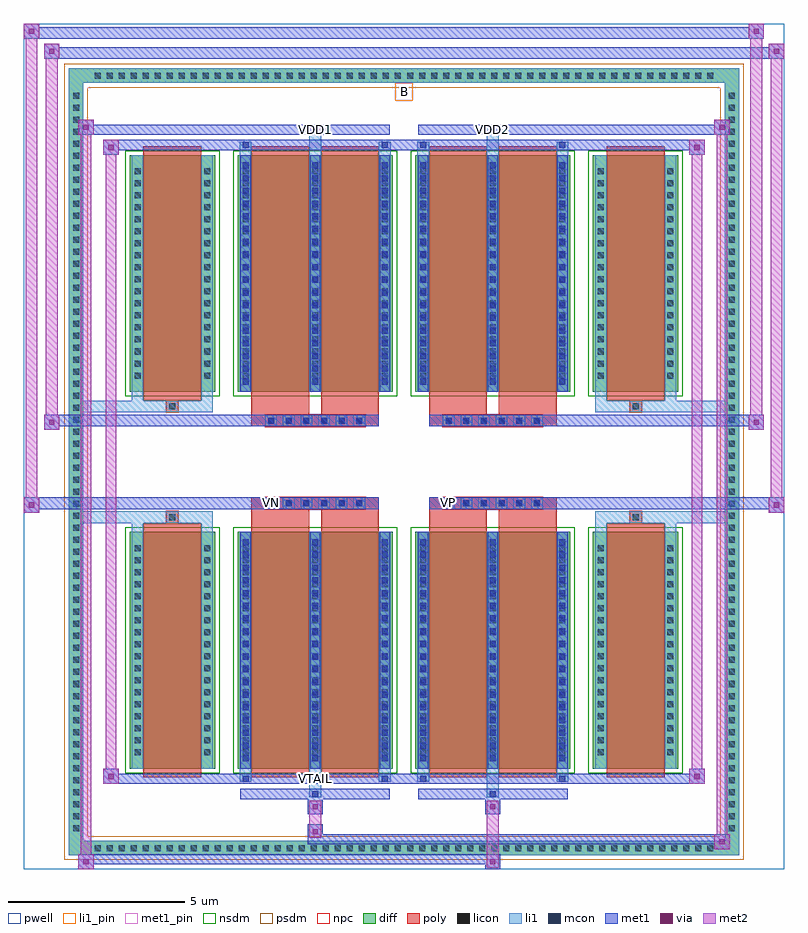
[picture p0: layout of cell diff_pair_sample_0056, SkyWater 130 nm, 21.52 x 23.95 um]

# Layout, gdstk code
import gdstk
lib = gdstk.Library(unit=1e-6, precision=5e-09)
def R(c, l, rs):  # rectangles x0, y0, x1, y1
    for r in rs: c.add(gdstk.rectangle(r[:2], r[2:], *l))
def A(c, l, x, y, w, h, nx, ny, dx, dy):  # array of equal rectangles
    R(c, l, [(x+i*dx, y+j*dy, x+i*dx+w, y+j*dy+h) for i in range(nx) for j in range(ny)])
def P(c, l, *ps):  # polygons
    for p in ps: c.add(gdstk.Polygon(p, *l))
pwell = (64, 44)
diff = (65, 20)
poly = (66, 20)
licon = (66, 44)
li1_pin = (67, 16)
li1 = (67, 20)
mcon = (67, 44)
met1_pin = (68, 16)
met1 = (68, 20)
via = (68, 44)
met2 = (69, 20)
nsdm = (93, 44)
psdm = (94, 20)
npc = (95, 20)

diff_pair_sample_0056 = lib.new_cell('diff_pair_sample_0056')
R(diff_pair_sample_0056, pwell, [(-10.76,-11.54,10.76,12.41), (-8.08,-9.73,-0.01,-0.805), (0.01,-9.73,8.08,-0.805), (-8.08,0.805,-0.01,9.73), (0.01,0.805,8.08,9.73)])
A(diff_pair_sample_0056, diff, -8.875, -11.14, 0.41, 0.41, 52, 2, 0.34, 21.87)
A(diff_pair_sample_0056, diff, -9.49, -10.575, 0.41, 0.41, 1, 62, 0, 0.34)
A(diff_pair_sample_0056, diff, 9.08, -10.575, 0.41, 0.41, 1, 62, 0, 0.34)
R(diff_pair_sample_0056, diff, [(-8.875,-11.14,8.875,-10.73), (-9.49,-10.575,-9.08,10.575), (9.08,-10.575,9.49,10.575), (-7.77,-8.685,-5.35,-1.985), (-4.71,-8.685,-0.32,-1.985), (0.32,-8.685,4.71,-1.985), (5.35,-8.685,7.77,-1.985), (-7.77,1.985,-5.35,8.685), (-4.71,1.985,-0.32,8.685), (0.32,1.985,4.71,8.685), (5.35,1.985,7.77,8.685), (-8.875,10.73,8.875,11.14)])
P(diff_pair_sample_0056, diff, [(9.49,11.14),(-9.49,11.14),(-9.49,-10.73),(-9.08,-10.73),(-9.08,10.73),(9.08,10.73),(9.08,-10.73),(-9.08,-10.73),(-9.49,-10.73),(-9.49,-11.14),(9.49,-11.14)])
A(diff_pair_sample_0056, poly, -3.93, -1.335, 0.33, 0.33, 6, 2, 0.5, 2.34)
A(diff_pair_sample_0056, poly, 1.1, -1.335, 0.33, 0.33, 6, 2, 0.5, 2.34)
R(diff_pair_sample_0056, poly, [(-7.38,-8.935,-5.74,-1.735), (-4.32,-8.935,-2.68,-1.735), (-2.35,-8.935,-0.71,-1.735), (0.71,-8.935,2.35,-1.735), (2.68,-8.935,4.32,-1.735), (5.74,-8.935,7.38,-1.735), (-6.725,-1.735,-6.395,-1.405), (-6.725,-1.735,-6.395,-1.405), (-4.32,-1.735,-2.68,-1.335), (-2.35,-1.735,-0.71,-1.335), (0.71,-1.735,2.35,-1.335), (2.68,-1.735,4.32,-1.335), (6.395,-1.735,6.725,-1.405), (6.395,-1.735,6.725,-1.405), (-4.32,-1.335,-0.71,-1.005), (0.71,-1.335,4.32,-1.005), (-4.32,1.005,-0.71,1.335), (0.71,1.005,4.32,1.335), (-4.32,1.335,-2.68,1.735), (-2.35,1.335,-0.71,1.735), (0.71,1.335,2.35,1.735), (2.68,1.335,4.32,1.735), (-6.725,1.405,-6.395,1.735), (-6.725,1.405,-6.395,1.735), (6.395,1.405,6.725,1.735), (6.395,1.405,6.725,1.735), (-7.38,1.735,-5.74,8.935), (-4.32,1.735,-2.68,8.935), (-2.35,1.735,-0.71,8.935), (0.71,1.735,2.35,8.935), (2.68,1.735,4.32,8.935), (5.74,1.735,7.38,8.935)])
A(diff_pair_sample_0056, licon, -8.755, -11.02, 0.17, 0.17, 52, 2, 0.34, 21.87)
A(diff_pair_sample_0056, licon, -9.37, -10.455, 0.17, 0.17, 1, 62, 0, 0.34)
A(diff_pair_sample_0056, licon, 9.2, -10.455, 0.17, 0.17, 1, 62, 0, 0.34)
A(diff_pair_sample_0056, licon, -7.63, -8.31, 0.17, 0.17, 1, 18, 0, 0.34)
A(diff_pair_sample_0056, licon, -5.66, -8.31, 0.17, 0.17, 1, 18, 0, 0.34)
A(diff_pair_sample_0056, licon, -4.57, -8.31, 0.17, 0.17, 3, 18, 1.97, 0.34)
A(diff_pair_sample_0056, licon, 0.46, -8.31, 0.17, 0.17, 3, 18, 1.97, 0.34)
A(diff_pair_sample_0056, licon, 5.49, -8.31, 0.17, 0.17, 1, 18, 0, 0.34)
A(diff_pair_sample_0056, licon, 7.46, -8.31, 0.17, 0.17, 1, 18, 0, 0.34)
A(diff_pair_sample_0056, licon, -3.85, -1.255, 0.17, 0.17, 6, 2, 0.5, 2.34)
A(diff_pair_sample_0056, licon, 1.18, -1.255, 0.17, 0.17, 6, 2, 0.5, 2.34)
A(diff_pair_sample_0056, licon, -7.63, 2.36, 0.17, 0.17, 1, 18, 0, 0.34)
A(diff_pair_sample_0056, licon, -5.66, 2.36, 0.17, 0.17, 1, 18, 0, 0.34)
A(diff_pair_sample_0056, licon, -4.57, 2.36, 0.17, 0.17, 3, 18, 1.97, 0.34)
A(diff_pair_sample_0056, licon, 0.46, 2.36, 0.17, 0.17, 3, 18, 1.97, 0.34)
A(diff_pair_sample_0056, licon, 5.49, 2.36, 0.17, 0.17, 1, 18, 0, 0.34)
A(diff_pair_sample_0056, licon, 7.46, 2.36, 0.17, 0.17, 1, 18, 0, 0.34)
R(diff_pair_sample_0056, licon, [(-6.645,-1.655,-6.475,-1.485), (6.475,-1.655,6.645,-1.485), (-6.645,1.485,-6.475,1.655), (6.475,1.485,6.645,1.655)])
R(diff_pair_sample_0056, li1_pin, [(-0.25,10.23,0.25,10.73)])
A(diff_pair_sample_0056, li1, -8.835, -11.1, 0.33, 0.33, 52, 2, 0.34, 21.87)
A(diff_pair_sample_0056, li1, -9.45, -10.535, 0.33, 0.33, 1, 62, 0, 0.34)
A(diff_pair_sample_0056, li1, 9.12, -10.535, 0.33, 0.33, 1, 62, 0, 0.34)
A(diff_pair_sample_0056, li1, -4.65, -8.685, 0.33, 6.7, 3, 2, 1.97, 10.67)
A(diff_pair_sample_0056, li1, 0.38, -8.685, 0.33, 6.7, 3, 2, 1.97, 10.67)
A(diff_pair_sample_0056, li1, -4.57, -8.48, 0.17, 0.17, 3, 18, 1.97, 0.36)
A(diff_pair_sample_0056, li1, -4.57, -8.48, 0.17, 6.29, 3, 2, 1.97, 10.67)
A(diff_pair_sample_0056, li1, 0.46, -8.48, 0.17, 0.17, 3, 18, 1.97, 0.36)
A(diff_pair_sample_0056, li1, 0.46, -8.48, 0.17, 6.29, 3, 2, 1.97, 10.67)
A(diff_pair_sample_0056, li1, -7.71, -8.39, 0.33, 0.33, 1, 18, 0, 0.34)
A(diff_pair_sample_0056, li1, -5.74, -8.39, 0.33, 0.33, 1, 18, 0, 0.34)
A(diff_pair_sample_0056, li1, -4.65, -8.39, 0.33, 0.33, 3, 18, 1.97, 0.34)
A(diff_pair_sample_0056, li1, 0.38, -8.39, 0.33, 0.33, 3, 18, 1.97, 0.34)
A(diff_pair_sample_0056, li1, 5.41, -8.39, 0.33, 0.33, 1, 18, 0, 0.34)
A(diff_pair_sample_0056, li1, 7.38, -8.39, 0.33, 0.33, 1, 18, 0, 0.34)
A(diff_pair_sample_0056, li1, -3.93, -1.335, 0.33, 0.33, 6, 2, 0.5, 2.34)
A(diff_pair_sample_0056, li1, 1.1, -1.335, 0.33, 0.33, 6, 2, 0.5, 2.34)
A(diff_pair_sample_0056, li1, -4.57, 2.19, 0.17, 0.17, 3, 18, 1.97, 0.36)
A(diff_pair_sample_0056, li1, 0.46, 2.19, 0.17, 0.17, 3, 18, 1.97, 0.36)
A(diff_pair_sample_0056, li1, -7.71, 2.28, 0.33, 0.33, 1, 18, 0, 0.34)
A(diff_pair_sample_0056, li1, -5.74, 2.28, 0.33, 0.33, 1, 18, 0, 0.34)
A(diff_pair_sample_0056, li1, -4.65, 2.28, 0.33, 0.33, 3, 18, 1.97, 0.34)
A(diff_pair_sample_0056, li1, 0.38, 2.28, 0.33, 0.33, 3, 18, 1.97, 0.34)
A(diff_pair_sample_0056, li1, 5.41, 2.28, 0.33, 0.33, 1, 18, 0, 0.34)
A(diff_pair_sample_0056, li1, 7.38, 2.28, 0.33, 0.33, 1, 18, 0, 0.34)
R(diff_pair_sample_0056, li1, [(-9.49,-11.14,-9.08,-10.73), (-9.49,-11.14,-9.08,-10.73), (-9.08,-11.14,9.08,-10.73), (9.08,-11.14,9.49,-10.73), (9.08,-11.14,9.49,-10.73), (-9.49,-10.73,-9.08,10.73), (9.08,-10.73,9.49,10.73), (-2.68,-9.49,-2.35,-8.685), (-2.6,-9.49,-2.43,-9.32), (2.35,-9.49,2.68,-8.685), (2.43,-9.49,2.6,-9.32), (-4.65,-9.06,-4.32,-8.685), (-4.57,-9.06,-4.4,-8.89), (-0.71,-9.06,-0.38,-8.685), (-0.63,-9.06,-0.46,-8.89), (0.38,-9.06,0.71,-8.685), (0.46,-9.06,0.63,-8.89), (4.32,-9.06,4.65,-8.685), (4.4,-9.06,4.57,-8.89), (-7.71,-8.685,-7.38,-1.985), (-5.74,-8.685,-5.41,-1.985), (5.41,-8.685,5.74,-1.985), (7.38,-8.685,7.71,-1.985), (-7.71,-1.985,-7.38,-1.405), (-5.74,-1.985,-5.41,-1.405), (5.41,-1.985,5.74,-1.405), (7.38,-1.985,7.71,-1.405), (-9.49,-1.735,-6.725,-1.405), (-7.71,-1.735,-6.725,-1.405), (-6.725,-1.735,-6.395,-1.405), (-6.395,-1.735,-5.41,-1.405), (5.41,-1.735,6.395,-1.405), (6.395,-1.735,6.725,-1.405), (6.395,-1.735,9.49,-1.405), (6.725,-1.735,7.71,-1.405), (-9.49,1.405,-6.725,1.735), (-7.71,1.405,-6.725,1.735), (-7.71,1.405,-7.38,1.985), (-6.725,1.405,-6.395,1.735), (-6.395,1.405,-5.41,1.735), (-5.74,1.405,-5.41,1.985), (5.41,1.405,6.395,1.735), (5.41,1.405,5.74,1.985), (6.395,1.405,6.725,1.735), (6.395,1.405,9.49,1.735), (6.725,1.405,7.71,1.735), (7.38,1.405,7.71,1.985), (-7.71,1.985,-7.38,8.685), (-5.74,1.985,-5.41,8.685), (5.41,1.985,5.74,8.685), (7.38,1.985,7.71,8.685), (-4.65,8.685,-4.32,9.06), (-2.68,8.685,-2.35,9.49), (-0.71,8.685,-0.38,9.06), (0.38,8.685,0.71,9.06), (2.35,8.685,2.68,9.49), (4.32,8.685,4.65,9.06), (-4.57,8.89,-4.4,9.06), (-0.63,8.89,-0.46,9.06), (0.46,8.89,0.63,9.06), (4.4,8.89,4.57,9.06), (-2.6,9.32,-2.43,9.49), (2.43,9.32,2.6,9.49), (-9.49,10.73,-9.08,11.14), (-9.49,10.73,-9.08,11.14), (-9.08,10.73,9.08,11.14), (9.08,10.73,9.49,11.14), (9.08,10.73,9.49,11.14)])
A(diff_pair_sample_0056, mcon, -4.57, -8.48, 0.17, 0.17, 3, 18, 1.97, 0.36)
A(diff_pair_sample_0056, mcon, 0.46, -8.48, 0.17, 0.17, 3, 18, 1.97, 0.36)
A(diff_pair_sample_0056, mcon, -3.85, -1.255, 0.17, 0.17, 6, 2, 0.5, 2.34)
A(diff_pair_sample_0056, mcon, 1.18, -1.255, 0.17, 0.17, 6, 2, 0.5, 2.34)
A(diff_pair_sample_0056, mcon, -4.57, 2.19, 0.17, 0.17, 3, 18, 1.97, 0.36)
A(diff_pair_sample_0056, mcon, 0.46, 2.19, 0.17, 0.17, 3, 18, 1.97, 0.36)
R(diff_pair_sample_0056, mcon, [(-2.6,-9.49,-2.43,-9.32), (2.43,-9.49,2.6,-9.32), (-4.57,-9.06,-4.4,-8.89), (-0.63,-9.06,-0.46,-8.89), (0.46,-9.06,0.63,-8.89), (4.4,-9.06,4.57,-8.89), (-4.57,8.89,-4.4,9.06), (-0.63,8.89,-0.46,9.06), (0.46,8.89,0.63,9.06), (4.4,8.89,4.57,9.06), (-2.6,9.32,-2.43,9.49), (2.43,9.32,2.6,9.49)])
R(diff_pair_sample_0056, met1_pin, [(-2.65,-9.1,-2.38,-8.83), (-3.9,-1.295,-3.63,-1.025), (1.13,-1.295,1.4,-1.025), (-2.65,9.28,-2.38,9.55), (2.38,9.28,2.65,9.55)])
A(diff_pair_sample_0056, met1, -4.63, -8.685, 0.29, 6.7, 3, 2, 1.97, 10.67)
A(diff_pair_sample_0056, met1, 0.4, -8.685, 0.29, 6.7, 3, 2, 1.97, 10.67)
A(diff_pair_sample_0056, met1, -4.63, -8.54, 0.29, 0.29, 3, 18, 1.97, 0.36)
A(diff_pair_sample_0056, met1, 0.4, -8.54, 0.29, 0.29, 3, 18, 1.97, 0.36)
A(diff_pair_sample_0056, met1, -3.91, -1.315, 0.29, 0.29, 6, 2, 0.5, 2.34)
A(diff_pair_sample_0056, met1, 1.12, -1.315, 0.29, 0.29, 6, 2, 0.5, 2.34)
A(diff_pair_sample_0056, met1, -4.63, 2.13, 0.29, 0.29, 3, 18, 1.97, 0.36)
A(diff_pair_sample_0056, met1, 0.4, 2.13, 0.29, 0.29, 3, 18, 1.97, 0.36)
R(diff_pair_sample_0056, met1, [(-9.22,-11.54,-8.79,-11.11), (2.3,-11.54,2.73,-11.11), (-9.22,-11.4,2.73,-11.11), (8.79,-10.97,9.22,-10.54), (-2.73,-10.83,9.22,-10.54), (-2.73,-10.69,-2.3,-10.26), (-2.73,-9.98,-2.3,-9.55), (2.3,-9.98,2.73,-9.55), (-4.63,-9.55,-0.4,-9.26), (-2.66,-9.55,-2.37,-9.26), (0.4,-9.55,4.63,-9.26), (2.37,-9.55,2.66,-9.26), (-8.51,-9.12,-8.08,-8.69), (-8.51,-9.12,-4.63,-8.83), (-4.63,-9.12,-4.34,-8.83), (-4.63,-9.12,-0.4,-8.83), (-0.69,-9.12,-0.4,-8.83), (-0.4,-9.12,0.4,-8.83), (0.4,-9.12,0.69,-8.83), (0.4,-9.12,4.63,-8.83), (4.34,-9.12,4.63,-8.83), (4.63,-9.12,8.51,-8.83), (8.08,-9.12,8.51,-8.69), (-10.76,-1.435,-10.33,-1.005), (10.33,-1.435,10.76,-1.005), (-10.76,-1.335,-0.71,-1.005), (-4.32,-1.335,-0.71,-1.005), (0.71,-1.335,4.32,-1.005), (0.71,-1.335,10.76,-1.005), (-10.19,0.905,-9.76,1.335), (9.76,0.905,10.19,1.335), (-10.19,1.005,-4.32,1.335), (-4.32,1.005,-0.71,1.335), (0.71,1.005,4.32,1.335), (4.32,1.005,10.19,1.335), (-8.51,8.69,-8.08,9.12), (8.08,8.69,8.51,9.12), (-8.51,8.83,-4.63,9.12), (-4.63,8.83,-4.34,9.12), (-4.63,8.83,-0.4,9.12), (-0.69,8.83,-0.4,9.12), (-0.4,8.83,0.4,9.12), (0.4,8.83,0.69,9.12), (0.4,8.83,4.63,9.12), (4.34,8.83,4.63,9.12), (4.63,8.83,8.51,9.12), (-9.22,9.26,-8.79,9.69), (-9.22,9.26,-4.63,9.55), (-4.63,9.26,-0.4,9.55), (-2.66,9.26,-2.37,9.55), (0.4,9.26,4.63,9.55), (2.37,9.26,2.66,9.55), (4.63,9.26,9.22,9.55), (8.79,9.26,9.22,9.69), (-10.19,11.41,-9.76,11.84), (-10.19,11.41,-8.08,11.74), (-8.08,11.41,8.08,11.74), (8.08,11.41,10.76,11.74), (10.33,11.41,10.76,11.84), (-10.76,11.98,-10.33,12.41), (-10.76,11.98,-8.08,12.31), (-8.08,11.98,8.08,12.31), (8.08,11.98,10.19,12.31), (9.76,11.98,10.19,12.41)])
R(diff_pair_sample_0056, via, [(-9.08,-11.4,-8.93,-11.25), (2.44,-11.4,2.59,-11.25), (8.93,-10.83,9.08,-10.68), (-2.59,-10.55,-2.44,-10.4), (-2.59,-9.84,-2.44,-9.69), (2.44,-9.84,2.59,-9.69), (-8.37,-8.98,-8.22,-8.83), (8.22,-8.98,8.37,-8.83), (-10.62,-1.295,-10.47,-1.145), (10.47,-1.295,10.62,-1.145), (-10.05,1.045,-9.9,1.195), (9.9,1.045,10.05,1.195), (-8.37,8.83,-8.22,8.98), (8.22,8.83,8.37,8.98), (-9.08,9.4,-8.93,9.55), (8.93,9.4,9.08,9.55), (-10.05,11.55,-9.9,11.7), (10.47,11.55,10.62,11.7), (-10.62,12.12,-10.47,12.27), (9.9,12.12,10.05,12.27)])
R(diff_pair_sample_0056, met2, [(-9.22,-11.54,-8.79,-11.11), (-9.15,-11.54,-8.86,9.69), (-8.86,-11.54,-8.79,-11.11), (-9.17,-11.49,-8.84,-11.16), (2.35,-11.49,2.68,-11.16), (2.35,-11.16,2.68,-9.93), (8.79,-10.97,9.22,-10.54), (8.86,-10.97,9.15,9.69), (9.15,-10.97,9.22,-10.54), (8.84,-10.92,9.17,-10.59), (-2.68,-10.64,-2.35,-10.31), (-2.68,-10.31,-2.35,-9.93), (-2.68,-9.93,-2.35,-9.6), (2.35,-9.93,2.68,-9.6), (-8.51,-9.12,-8.08,-8.69), (-8.44,-9.12,-8.15,9.12), (-8.15,-9.12,-8.08,-8.69), (8.08,-9.12,8.51,-8.69), (8.15,-9.12,8.44,9.12), (8.44,-9.12,8.51,-8.69), (-8.46,-9.07,-8.13,-8.74), (8.13,-9.07,8.46,-8.74), (-10.76,-1.435,-10.33,-1.005), (-10.71,-1.435,-10.38,12.41), (-10.38,-1.435,-10.33,-1.005), (10.33,-1.435,10.76,-1.005), (10.38,-1.435,10.71,11.84), (10.71,-1.435,10.76,-1.005), (-10.71,-1.385,-10.38,-1.055), (10.38,-1.385,10.71,-1.055), (-10.19,0.905,-9.76,1.335), (-10.14,0.905,-9.81,11.84), (-9.81,0.905,-9.76,1.335), (9.76,0.905,10.19,1.335), (9.81,0.905,10.14,12.41), (10.14,0.905,10.19,1.335), (-10.14,0.955,-9.81,1.285), (9.81,0.955,10.14,1.285), (-8.51,8.69,-8.08,9.12), (-8.15,8.69,-8.08,9.12), (8.08,8.69,8.51,9.12), (8.44,8.69,8.51,9.12), (-8.46,8.74,-8.13,9.07), (8.13,8.74,8.46,9.07), (-9.22,9.26,-8.79,9.69), (-8.86,9.26,-8.79,9.69), (8.79,9.26,9.22,9.69), (9.15,9.26,9.22,9.69), (-9.17,9.31,-8.84,9.64), (8.84,9.31,9.17,9.64), (-10.19,11.41,-9.76,11.84), (-9.81,11.41,-9.76,11.84), (10.33,11.41,10.76,11.84), (10.71,11.41,10.76,11.84), (-10.14,11.46,-9.81,11.79), (10.38,11.46,10.71,11.79), (-10.76,11.98,-10.33,12.41), (-10.38,11.98,-10.33,12.41), (9.76,11.98,10.19,12.41), (10.14,11.98,10.19,12.41), (-10.71,12.03,-10.38,12.36), (9.81,12.03,10.14,12.36)])
R(diff_pair_sample_0056, nsdm, [(-7.9,-8.815,-5.22,-1.855), (-4.84,-8.815,-0.19,-1.855), (0.19,-8.815,4.84,-1.855), (5.22,-8.815,7.9,-1.855), (-7.9,1.855,-5.22,8.815), (-4.84,1.855,-0.19,8.815), (0.19,1.855,4.84,8.815), (5.22,1.855,7.9,8.815)])
P(diff_pair_sample_0056, psdm, [(9.62,11.27),(-9.62,11.27),(-9.62,-10.6),(-8.95,-10.6),(-8.95,10.6),(8.95,10.6),(8.95,-10.6),(-8.95,-10.6),(-9.62,-10.6),(-9.62,-11.27),(9.62,-11.27)])
A(diff_pair_sample_0056, npc, -3.95, -1.355, 0.37, 0.37, 6, 2, 0.5, 2.34)
A(diff_pair_sample_0056, npc, 1.08, -1.355, 0.37, 0.37, 6, 2, 0.5, 2.34)
R(diff_pair_sample_0056, npc, [(-6.745,-1.755,-6.375,-1.385), (6.375,-1.755,6.745,-1.385), (-3.95,-1.355,-3.08,-0.985), (-3.95,-1.355,-3.08,-0.985), (-3.45,-1.355,-2.58,-0.985), (-3.45,-1.355,-2.58,-0.985), (-2.95,-1.355,-2.08,-0.985), (-2.95,-1.355,-2.08,-0.985), (-2.45,-1.355,-1.58,-0.985), (-2.45,-1.355,-1.58,-0.985), (-1.95,-1.355,-1.08,-0.985), (-1.95,-1.355,-1.08,-0.985), (1.08,-1.355,1.95,-0.985), (1.08,-1.355,1.95,-0.985), (1.58,-1.355,2.45,-0.985), (1.58,-1.355,2.45,-0.985), (2.08,-1.355,2.95,-0.985), (2.08,-1.355,2.95,-0.985), (2.58,-1.355,3.45,-0.985), (2.58,-1.355,3.45,-0.985), (3.08,-1.355,3.95,-0.985), (3.08,-1.355,3.95,-0.985), (-3.95,0.985,-3.08,1.355), (-3.95,0.985,-3.08,1.355), (-3.45,0.985,-2.58,1.355), (-3.45,0.985,-2.58,1.355), (-2.95,0.985,-2.08,1.355), (-2.95,0.985,-2.08,1.355), (-2.45,0.985,-1.58,1.355), (-2.45,0.985,-1.58,1.355), (-1.95,0.985,-1.08,1.355), (-1.95,0.985,-1.08,1.355), (1.08,0.985,1.95,1.355), (1.08,0.985,1.95,1.355), (1.58,0.985,2.45,1.355), (1.58,0.985,2.45,1.355), (2.08,0.985,2.95,1.355), (2.08,0.985,2.95,1.355), (2.58,0.985,3.45,1.355), (2.58,0.985,3.45,1.355), (3.08,0.985,3.95,1.355), (3.08,0.985,3.95,1.355), (-6.745,1.385,-6.375,1.755), (6.375,1.385,6.745,1.755)])
diff_pair_sample_0056.add(gdstk.Label('VTAIL', (-2.515,-8.965), layer=68, texttype=5))
diff_pair_sample_0056.add(gdstk.Label('VN', (-3.765,-1.16), layer=68, texttype=5))
diff_pair_sample_0056.add(gdstk.Label('VP', (1.265,-1.16), layer=68, texttype=5))
diff_pair_sample_0056.add(gdstk.Label('B', (0,10.48), layer=67, texttype=5))
diff_pair_sample_0056.add(gdstk.Label('VDD2', (2.515,9.415), layer=68, texttype=5))
diff_pair_sample_0056.add(gdstk.Label('VDD1', (-2.515,9.415), layer=68, texttype=5))

lib.write_gds('diff_pair_sample_0056.gds')
